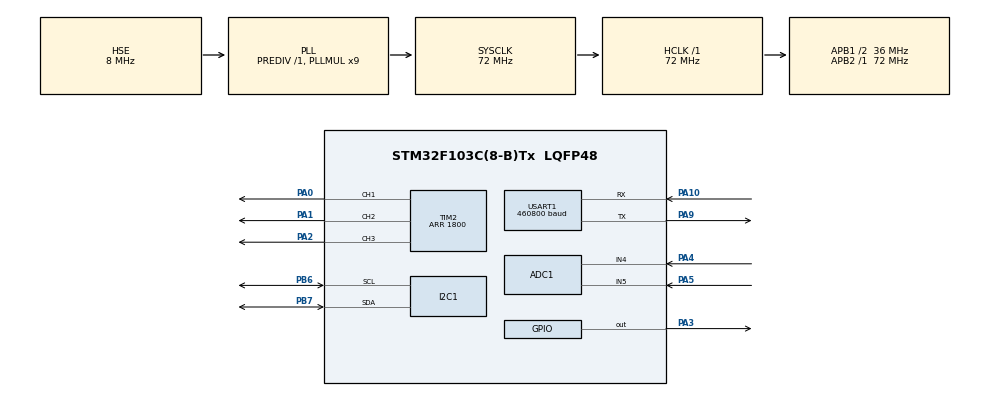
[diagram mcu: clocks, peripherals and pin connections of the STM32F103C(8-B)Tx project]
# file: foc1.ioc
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ADC1.Channel-0\#ChannelRegularConversion=ADC_CHANNEL_4
ADC1.Channel-1\#ChannelRegularConversion=ADC_CHANNEL_5
ADC1.ContinuousConvMode=DISABLE
ADC1.ExternalTrigConv=ADC_EXTERNALTRIGCONV_T4_CC4
ADC1.NbrOfConversion=2
ADC1.NbrOfConversionFlag=1
ADC1.Rank-0\#ChannelRegularConversion=1
ADC1.Rank-1\#ChannelRegularConversion=2
ADC1.SamplingTime-0\#ChannelRegularConversion=ADC_SAMPLETIME_13CYCLES_5
ADC1.SamplingTime-1\#ChannelRegularConversion=ADC_SAMPLETIME_13CYCLES_5
ADC1.master=1
Dma.ADC1.0.Direction=DMA_PERIPH_TO_MEMORY
Dma.ADC1.0.Instance=DMA1_Channel1
Dma.ADC1.0.MemDataAlignment=DMA_MDATAALIGN_HALFWORD
Dma.ADC1.0.MemInc=DMA_MINC_ENABLE
Dma.ADC1.0.Mode=DMA_CIRCULAR
Dma.ADC1.0.PeriphDataAlignment=DMA_PDATAALIGN_HALFWORD
Dma.ADC1.0.PeriphInc=DMA_PINC_DISABLE
Dma.ADC1.0.Priority=DMA_PRIORITY_HIGH
Dma.Request0=ADC1
Dma.Request1=USART1_TX
Dma.USART1_TX.1.Direction=DMA_MEMORY_TO_PERIPH
Dma.USART1_TX.1.Instance=DMA1_Channel4
Dma.USART1_TX.1.MemDataAlignment=DMA_MDATAALIGN_BYTE
Dma.USART1_TX.1.MemInc=DMA_MINC_ENABLE
Dma.USART1_TX.1.Mode=DMA_NORMAL
Dma.USART1_TX.1.PeriphDataAlignment=DMA_PDATAALIGN_BYTE
Dma.USART1_TX.1.PeriphInc=DMA_PINC_DISABLE
Dma.USART1_TX.1.Priority=DMA_PRIORITY_LOW
Mcu.Family=STM32F1
Mcu.Name=STM32F103C(8-B)Tx
Mcu.Package=LQFP48
NVIC.DMA1_Channel1_IRQn=true\:0\:0\:false\:false\:true\:false\:true\:true
NVIC.DMA1_Channel4_IRQn=true\:2\:0\:false\:false\:true\:false\:true\:true
NVIC.PriorityGroup=NVIC_PRIORITYGROUP_4
NVIC.TIM3_IRQn=true\:1\:0\:false\:false\:true\:true\:true\:true
NVIC.USART1_IRQn=true\:2\:0\:false\:false\:true\:true\:true\:true
PA0-WKUP.Signal=S_TIM2_CH1_ETR
PA1.Signal=S_TIM2_CH2
PA10.Mode=Asynchronous
PA10.Signal=USART1_RX
PA13.Mode=Serial_Wire
PA13.Signal=SYS_JTMS-SWDIO
PA14.Mode=Serial_Wire
PA14.Signal=SYS_JTCK-SWCLK
PA2.Signal=S_TIM2_CH3
PA3.Signal=GPIO_Output
PA4.Signal=ADCx_IN4
PA5.Signal=ADCx_IN5
PA9.Mode=Asynchronous
PA9.Signal=USART1_TX
PB6.Mode=I2C
PB6.Signal=I2C1_SCL
PB7.Mode=I2C
PB7.Signal=I2C1_SDA
PD0-OSC_IN.Mode=HSE-External-Oscillator
PD0-OSC_IN.Signal=RCC_OSC_IN
PD1-OSC_OUT.Mode=HSE-External-Oscillator
PD1-OSC_OUT.Signal=RCC_OSC_OUT
ProjectManager.HeapSize=0x200
ProjectManager.StackSize=0x400
ProjectManager.TargetToolchain=CMake
RCC.ADCPresc=RCC_ADCPCLK2_DIV6
RCC.AHBFreq_Value=72000000
RCC.APB1CLKDivider=RCC_HCLK_DIV2
RCC.APB1Freq_Value=36000000
RCC.APB1TimFreq_Value=72000000
RCC.APB2Freq_Value=72000000
RCC.APB2TimFreq_Value=72000000
RCC.HCLKFreq_Value=72000000
RCC.PLLMUL=RCC_PLL_MUL9
RCC.PLLSourceVirtual=RCC_PLLSOURCE_HSE
RCC.SYSCLKFreq_VALUE=72000000
RCC.SYSCLKSource=RCC_SYSCLKSOURCE_PLLCLK
RCC.USBFreq_Value=72000000
SH.ADCx_IN4.0=ADC1_IN4,IN4
SH.ADCx_IN5.0=ADC1_IN5,IN5
SH.S_TIM2_CH1_ETR.0=TIM2_CH1,PWM Generation1 CH1
SH.S_TIM2_CH2.0=TIM2_CH2,PWM Generation2 CH2
SH.S_TIM2_CH3.0=TIM2_CH3,PWM Generation3 CH3
TIM2.AutoReloadPreload=TIM_AUTORELOAD_PRELOAD_ENABLE
TIM2.Channel-PWM\ Generation1\ CH1=TIM_CHANNEL_1
TIM2.Channel-PWM\ Generation2\ CH2=TIM_CHANNEL_2
TIM2.Channel-PWM\ Generation3\ CH3=TIM_CHANNEL_3
TIM2.CounterMode=TIM_COUNTERMODE_CENTERALIGNED1
TIM2.Period=1800
TIM2.Pulse-PWM\ Generation1\ CH1=900
TIM2.Pulse-PWM\ Generation2\ CH2=900
TIM2.Pulse-PWM\ Generation3\ CH3=900
TIM3.Period=999
TIM3.Prescaler=71
USART1.BaudRate=460800
USART1.VirtualMode=VM_ASYNC
VP_TIM2_VS_ClockSourceINT.Mode=Internal
VP_TIM3_VS_ClockSourceINT.Mode=Internal
board=custom

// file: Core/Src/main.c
/* USER CODE BEGIN Header */
/**
  ******************************************************************************
  * @file           : main.c
  * @brief          : Main program body
  ******************************************************************************
  * @attention
  *
  * Copyright (c) 2026 STMicroelectronics.
  * All rights reserved.
  *
  * This software is licensed under terms that can be found in the LICENSE file
  * in the root directory of this software component.
  * If no LICENSE file comes with this software, it is provided AS-IS.
  *
  ******************************************************************************
  */
/* USER CODE END Header */
#include "main.h"
#include "adc.h"
#include "dma.h"
#include "i2c.h"
#include "tim.h"
#include "usart.h"
#include "gpio.h"

/* USER CODE BEGIN Includes */
/* 当前阶段：position_control.c位置P -> speed_power.c速度PI -> d/q电流PI。
 * 位置/速度每1ms计算；current_control.c随ADC/DMA每500us控制电流。
 * 主循环读取编码器，避免中断中等待 I2C。
 * motor_config.h 的 MOTOR_USE_SPEED_LOOP=0 可切回原开环试转。
 */
#include "as5600.h"
#include "motor_control.h"
#include "motor_driver.h"
#include "motor_config.h"
#include "speed_power.h"
#include "position_control.h"
#include "vofa.h"
/* USER CODE END Includes */

/* USER CODE BEGIN PV */
/* 只保留主程序自身的观察量。电流、PWM 和电机状态变量在各自模块中定义，
 * 原 Live Watch 名称保持不变。volatile 使这些观察量保留实际的内存访问。
 */
volatile uint32_t live_counter = 0;       /* 主循环约每 100ms 加 1。 */
volatile uint32_t live_tick_ms = 0;       /* 当前系统毫秒计数。 */
volatile uint32_t live_core_clock_hz = 0; /* 预期 72000000Hz。 */
volatile uint32_t live_error = 0;        /* 初始化/启动失败时置 1。 */
/* USER CODE END PV */

void SystemClock_Config(void);

int main(void)
{

  /* MCU Configuration--------------------------------------------------------*/

  /* Reset of all peripherals, Initializes the Flash interface and the Systick. */
  HAL_Init();

  /* USER CODE BEGIN Init */
  /* 实物外部晶振 8MHz，下面由 CubeMX 生成的时钟配置 PLL*9 得到 72MHz。 */
  /* USER CODE END Init */

  /* Configure the system clock */
  SystemClock_Config();

  /* USER CODE BEGIN SysInit */
  /* GPIO 初始化先把 PA3/DRV_EN 写低。外设配置完成后，
   * MotorControl_Init() 准备PWM、ADC零电流标定和TIM3；随后读取角度、加载历史标定并启动控制。
   */
  /* USER CODE END SysInit */

  /* Initialize all configured peripherals */
  MX_GPIO_Init();
  MX_DMA_Init();
  MX_TIM2_Init();
  MX_ADC1_Init();
  MX_I2C1_Init();
  MX_USART1_UART_Init();
  MX_TIM3_Init();
  /* USER CODE BEGIN 2 */
  live_core_clock_hz = HAL_RCC_GetHCLKFreq();
  /* 闭环状态先清零，再启动原有 PWM/采样/1ms 定时调度。
   * 加载已保存的电角度零点；位置环默认控制AS5600单圈绝对角度，相对模式另记启动零点。 */
#if MOTOR_USE_SPEED_LOOP
  SpeedPower_Init();
#endif
  MotorControl_Init();
  uint32_t heartbeat_tick = HAL_GetTick();
  HAL_Delay(20); /* 传感器上电后留出稳定时间，再开始读取。 */
  /* USER CODE END 2 */

  /* Infinite loop */
  while (1)
  {

    /* USER CODE BEGIN 3 */
    Vofa_Poll(); /* 非阻塞启动USART1 DMA，发送电流环已保存的Iq/Id。 */
    /* I2C 只在这里执行。闭环减少主循环等待，给 TIM3 提供更及时的角度。 */
#if MOTOR_USE_SPEED_LOOP
    SpeedPower_PollSensor();
#else
    AS5600_Update();
#endif
    live_tick_ms = HAL_GetTick();
    if ((uint32_t)(live_tick_ms - heartbeat_tick) >= 100U)
    {
      heartbeat_tick = live_tick_ms;
      live_counter++; /* 保持原来的主循环心跳：约每 100ms 加 1。 */
    }
#if MOTOR_USE_SPEED_LOOP
    HAL_Delay(1);
#else
    HAL_Delay(10);
#endif
  }
  /* USER CODE END 3 */
}

void SystemClock_Config(void)
{
  RCC_OscInitTypeDef RCC_OscInitStruct = {0};
  RCC_ClkInitTypeDef RCC_ClkInitStruct = {0};
  RCC_PeriphCLKInitTypeDef PeriphClkInit = {0};

  /** Initializes the RCC Oscillators according to the specified parameters
  * in the RCC_OscInitTypeDef structure.
  */
  RCC_OscInitStruct.OscillatorType = RCC_OSCILLATORTYPE_HSE;
  RCC_OscInitStruct.HSEState = RCC_HSE_ON;
  RCC_OscInitStruct.HSEPredivValue = RCC_HSE_PREDIV_DIV1;
  RCC_OscInitStruct.HSIState = RCC_HSI_ON;
  RCC_OscInitStruct.PLL.PLLState = RCC_PLL_ON;
  RCC_OscInitStruct.PLL.PLLSource = RCC_PLLSOURCE_HSE;
  RCC_OscInitStruct.PLL.PLLMUL = RCC_PLL_MUL9;
  if (HAL_RCC_OscConfig(&RCC_OscInitStruct) != HAL_OK)
  {
    Error_Handler();
  }

  /** Initializes the CPU, AHB and APB buses clocks
  */
  RCC_ClkInitStruct.ClockType = RCC_CLOCKTYPE_HCLK|RCC_CLOCKTYPE_SYSCLK
                              |RCC_CLOCKTYPE_PCLK1|RCC_CLOCKTYPE_PCLK2;
  RCC_ClkInitStruct.SYSCLKSource = RCC_SYSCLKSOURCE_PLLCLK;
  RCC_ClkInitStruct.AHBCLKDivider = RCC_SYSCLK_DIV1;
  RCC_ClkInitStruct.APB1CLKDivider = RCC_HCLK_DIV2;
  RCC_ClkInitStruct.APB2CLKDivider = RCC_HCLK_DIV1;

  if (HAL_RCC_ClockConfig(&RCC_ClkInitStruct, FLASH_LATENCY_2) != HAL_OK)
  {
    Error_Handler();
  }
  PeriphClkInit.PeriphClockSelection = RCC_PERIPHCLK_ADC;
  PeriphClkInit.AdcClockSelection = RCC_ADCPCLK2_DIV6;
  if (HAL_RCCEx_PeriphCLKConfig(&PeriphClkInit) != HAL_OK)
  {
    Error_Handler();
  }
}

void Error_Handler(void)
{
  /* USER CODE BEGIN Error_Handler_Debug */
  live_error = 1;
  MotorDriver_Disable(); /* 启动失败先关闭驱动；GPIOA 未开时也可安全调用。 */
  __disable_irq();
  while (1)
  {
  }
  /* USER CODE END Error_Handler_Debug */
}
